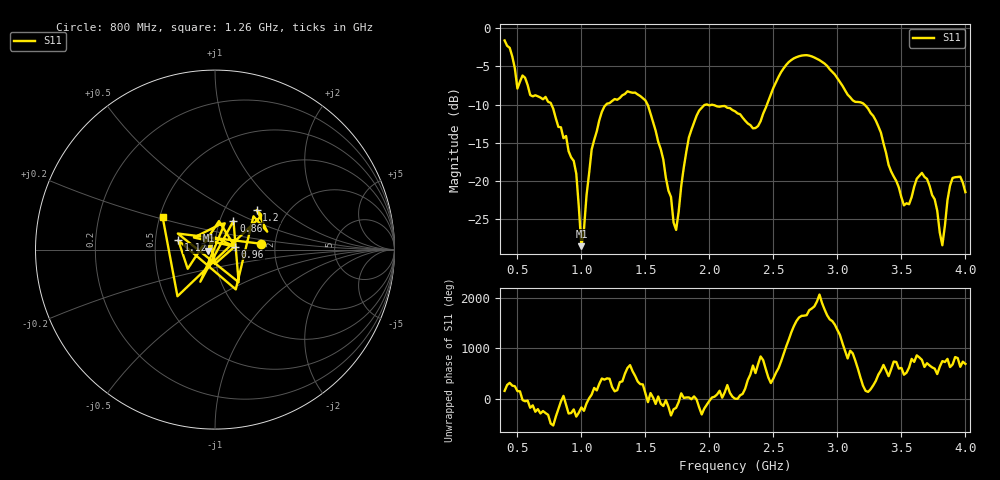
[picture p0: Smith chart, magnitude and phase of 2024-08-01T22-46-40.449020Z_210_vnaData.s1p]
!Created with skrf (http://scikit-rf.org).
# Hz S RI R 50.0
!freq ReS11 ImS11
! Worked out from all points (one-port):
!   181 points, 400 MHz to 4 GHz, reference 50 ohm
!   lowest |S11| = -28.5 dB at 1 GHz (marker M1), VSWR 1.08, Z = 46.4 - j0.585 ohm
!   |S11| at or under -10 dB: 1.517 GHz to 1.974 GHz (457.5 MHz wide, 26.2 % of centre); 1.984 GHz to 2.45 GHz (466.1 MHz wide, 21 % of centre); 3.211 GHz to end of sweep (the widest 3 of 4)
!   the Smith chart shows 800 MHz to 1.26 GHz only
!   S11 on the Smith chart (normalised r, x): 800 MHz: 1.68, +0.12; 860 MHz: 1.16, +0.39; 960 MHz: 1.25, +0.04; 1.12 GHz: 0.66, +0.07; 1.2 GHz: 1.41, +0.69; 1.26 GHz: 0.52, +0.21
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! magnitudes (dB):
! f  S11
! 400 MHz  -1.6
! 500 MHz  -7.9
! 540 MHz  -6.2
! 800 MHz  -11.8
! 860 MHz  -14.4
! 960 MHz  -19.1
! 1 GHz  -28.5
! 1.08 GHz  -15.9
! 1.12 GHz  -13.5
! 1.2 GHz  -9.9
! 1.26 GHz  -9.3
! 1.3 GHz  -9.1
! 1.52 GHz  -10.1
! 1.64 GHz  -17.2
! 1.72 GHz  -25.4
! 1.76 GHz  -24.0
! 1.84 GHz  -14.3
! 1.92 GHz  -10.8
! 2.2 GHz  -10.9
! 2.38 GHz  -12.8
! 2.66 GHz  -3.9
! 3.1 GHz  -9.0
! 3.3 GHz  -12.1
! 3.56 GHz  -23.1
! 3.7 GHz  -19.7
! 3.82 GHz  -28.4
! 3.9 GHz  -19.6
! 4 GHz  -21.5
